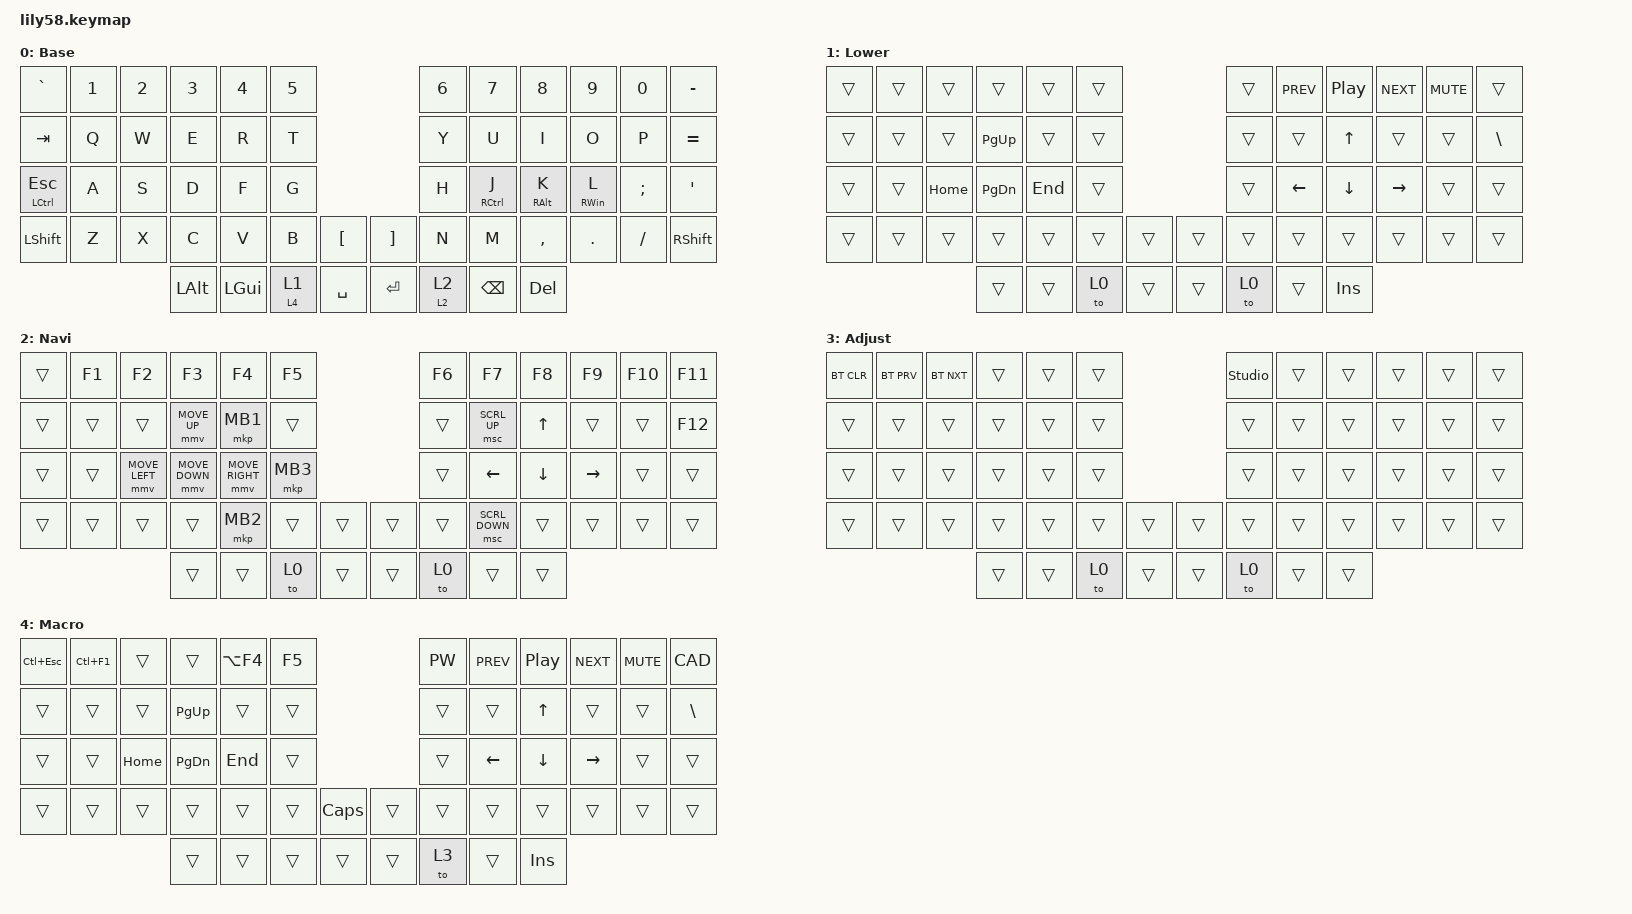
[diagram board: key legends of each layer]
/*
 * Copyright (c) 2020 The ZMK Contributors
 *
 * SPDX-License-Identifier: MIT
 */

#define ZMK_POINTING_DEFAULT_MOVE_VAL 1200

#include <behaviors.dtsi>
#include <dt-bindings/zmk/bt.h>
#include <dt-bindings/zmk/keys.h>
#include <dt-bindings/zmk/pointing.h>

#define base_layer   0
#define lower_layer  1
#define navi_layer  2
#define adjust_layer 3
#define macro_layer  4

&mt { tapping-term-ms = <140>; };

&mmv { delay-ms = <200>; };

/ {
    behaviors {
        mo_tog: mo_tog {
            compatible = "zmk,behavior-hold-tap";
            label = "Hold for momentary and tap for toggle";
            bindings = <&mo>, <&tog>;

            #binding-cells = <2>;
            tapping-term-ms = <150>;
        };

        hr_mt: hr_mt {
            compatible = "zmk,behavior-hold-tap";
            label = "Home row hold tap";
            #binding-cells = <2>;
            tapping-term-ms = <200>;
            quick-tap-ms = <200>;
            bindings = <&kp>, <&kp>;

            flavor = "tap-preferred";
        };
    };

    macros {
        CAD: CAD {
            compatible = "zmk,behavior-macro";
            #binding-cells = <0>;
            bindings = <&kp LC(LA(DEL))>;
            label = "CAD";
        };

        PW: PW {
            compatible = "zmk,behavior-macro";
            #binding-cells = <0>;
            bindings = <&none &kp LS(C) &kp E &kp N7 &kp POUND &kp N2 &kp N0 &kp A &kp N2 &kp N3 &kp N0 &kp N7 &kp N4 &kp N1 &kp N3>;
            label = "PW";
        };
    };

    keymap {
        compatible = "zmk,keymap";

        base_layer {
            display-name = "Base";

            // ------------------------------------------------------------------------------------------------------------
            // |  `   |  1   |  2   |  3   |  4   |  5   |                |  6   |  7   |  8   |  9   |  0   |  -   |
            // | TAB  |  Q   |  W   |  E   |  R   |  T   |                |  Y   |  U   |  I   |  O   |  P   |  =   |
            // | CTRL |  A   |  S   |  D   |  F   |  G   |                |  H   |  J   |  K   |  L   |  ;   |  '   |
            // |SHIFT |  Z   |  X   |  C   |  V   |  B   | "["  |  | "]"  |  N   |  M   |  ,   |  .   |  /   |SHIFT |
            //                      | ALT  | GUI  |LOWER |SPACE |  |ENTER | NAVI | BSPC | DEL  |

            bindings = <
&kp GRAVE         &kp N1  &kp N2  &kp N3    &kp N4    &kp N5                              &kp N6       &kp N7          &kp N8              &kp N9              &kp N0    &kp MINUS
&kp TAB           &kp Q   &kp W   &kp E     &kp R     &kp T                               &kp Y        &kp U           &kp I               &kp O               &kp P     &kp EQUAL
&mt LCTRL ESCAPE  &kp A   &kp S   &kp D     &kp F     &kp G                               &kp H        &hr_mt RCTRL J  &hr_mt RIGHT_ALT K  &hr_mt RIGHT_WIN L  &kp SEMI  &kp SQT
&kp LSHFT         &kp Z   &kp X   &kp C     &kp V     &kp B        &kp LBKT     &kp RBKT  &kp N        &kp M           &kp COMMA           &kp DOT             &kp FSLH  &kp RSHFT
                                  &kp LALT  &kp LGUI  &mo_tog 4 1  &kp SPACE    &kp RET   &mo_tog 2 2  &kp BSPC        &kp DEL
            >;
        };

        lower_layer {
            display-name = "Lower";

            // ------------------------------------------------------------------------------------------------------------
            // |      |      |      |      |      |      |                |      | PREV | P/P  | NEXT | MUTE |      |
            // |      |      |      | PGUP |      |      |                |      |      |  ↑   |      |      |  \   |
            // |      |      | HOME | PGDN | END  |      |                |      |  ←   |  ↓   |  →   |      |      |
            // |      |      |      |      |      |      |      |  |      |      |      |      |      |      |      |
            //                      |      |      | BASE |      |  |      | BASE |      |      |

            bindings = <
&trans  &trans  &trans    &trans     &trans   &trans                    &trans  &kp C_PREV  &kp C_PP  &kp C_NEXT  &kp C_MUTE  &trans
&trans  &trans  &trans    &kp PG_UP  &trans   &trans                    &trans  &trans      &kp UP    &trans      &trans      &kp BSLH
&trans  &trans  &kp HOME  &kp PG_DN  &kp END  &trans                    &trans  &kp LEFT    &kp DOWN  &kp RIGHT   &trans      &trans
&trans  &trans  &trans    &trans     &trans   &trans  &trans    &trans  &trans  &trans      &trans    &trans      &trans      &trans
                          &trans     &trans   &to 0   &trans    &trans  &to 0   &trans      &kp INS
            >;
        };

        navi_layer {
            display-name = "Navi";

            // ------------------------------------------------------------------------------------------------------------
            // |      |  F1  |  F2  |  F3  |  F4  |  F5  |                |  F6  |  F7  |  F8  |  F9  | F10  | F11  |
            // |      |      |      |  M↑  |  M1  |      |                |      | WHL↑ |  ↑   |      |      | F12  |
            // |      |      |  M←  |  M↓  |  M→  |  M3  |                |      |  ←   |  ↓   |  →   |      |      |
            // |      |      |      |      |  M2  |      |      |  |      |      | WHL↓ |      |      |      |      |
            //                      |      |      | BASE |      |  |      | BASE |      |      |

            bindings = <
&trans  &kp F1  &kp F2          &kp F3          &kp F4           &kp F5                      &kp F6  &kp F7          &kp F8    &kp F9     &kp F10  &kp F11
&trans  &trans  &trans          &mmv MOVE_UP    &mkp MB1         &trans                      &trans  &msc SCRL_UP    &kp UP    &trans     &trans   &kp F12
&trans  &trans  &mmv MOVE_LEFT  &mmv MOVE_DOWN  &mmv MOVE_RIGHT  &mkp MB3                    &trans  &kp LEFT        &kp DOWN  &kp RIGHT  &trans   &trans
&trans  &trans  &trans          &trans          &mkp MB2         &trans    &trans    &trans  &trans  &msc SCRL_DOWN  &trans    &trans     &trans   &trans
                                &trans          &trans           &to 0     &trans    &trans  &to 0   &trans          &trans
            >;
        };

        adjust_layer {
            display-name = "Adjust";

            // ------------------------------------------------------------------------------------------------------------
            // |BT_CLR|BT_PRV|BT_NXT|      |      |      |                |UNLOCK|      |      |      |      |      |
            // |      |      |      |      |      |      |                |      |      |      |      |      |      |
            // |      |      |      |      |      |      |                |      |      |      |      |      |      |
            // |      |      |      |      |      |      |      |  |      |      |      |      |      |      |      |
            //                      |      |      | BASE |      |  |      | BASE |      |      |

            bindings = <
&bt BT_CLR  &bt BT_PRV  &bt BT_NXT  &trans  &trans  &trans                    &studio_unlock  &trans  &trans  &trans  &trans  &trans
&trans      &trans      &trans      &trans  &trans  &trans                    &trans          &trans  &trans  &trans  &trans  &trans
&trans      &trans      &trans      &trans  &trans  &trans                    &trans          &trans  &trans  &trans  &trans  &trans
&trans      &trans      &trans      &trans  &trans  &trans  &trans    &trans  &trans          &trans  &trans  &trans  &trans  &trans
                                    &trans  &trans  &to 0   &trans    &trans  &to 0           &trans  &trans
            >;
        };

        macro_layer {
            display-name = "Macro";

            // ------------------------------------------------------------------------------------------------------------
            // | ESC  |LC(F1)|      |      |LA(F4)|  F5  |                |  PW  | PREV | P/P  | NEXT | MUTE |      |
            // |      |      |      | PGUP |      |      |                |      |      |  ↑   |      |      |  \   |
            // |      |      | HOME | PGDN | END  |      |                |      |  ←   |  ↓   |  →   |      |      |
            // |      |      |      |      |      |      | CAPS |  |      |      |      |      |      |      |      |
            //                      |      |      |      |      |  |      |      |      | INS  |

            bindings = <
&kp LC(ESC)  &kp LC(F1)  &trans    &trans     &kp LA(F4)  &kp F5                      &PW     &kp C_PREV  &kp C_PP  &kp C_NEXT  &kp C_MUTE  &CAD
&trans       &trans      &trans    &kp PG_UP  &trans      &trans                      &trans  &trans      &kp UP    &trans      &trans      &kp BSLH
&trans       &trans      &kp HOME  &kp PG_DN  &kp END     &trans                      &trans  &kp LEFT    &kp DOWN  &kp RIGHT   &trans      &trans
&trans       &trans      &trans    &trans     &trans      &trans  &kp CAPS    &trans  &trans  &trans      &trans    &trans      &trans      &trans
                                   &trans     &trans      &trans  &trans      &trans  &to 3   &trans      &kp INS
            >;
        };
    };
};
